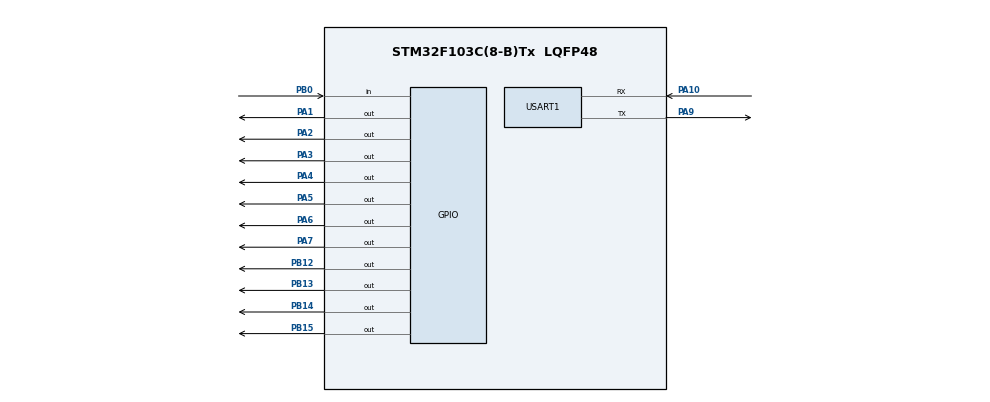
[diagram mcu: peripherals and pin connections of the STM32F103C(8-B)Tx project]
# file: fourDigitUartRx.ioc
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Dma.Request0=USART1_RX
Dma.USART1_RX.0.Direction=DMA_PERIPH_TO_MEMORY
Dma.USART1_RX.0.Instance=DMA1_Channel5
Dma.USART1_RX.0.MemDataAlignment=DMA_MDATAALIGN_BYTE
Dma.USART1_RX.0.MemInc=DMA_MINC_ENABLE
Dma.USART1_RX.0.Mode=DMA_NORMAL
Dma.USART1_RX.0.PeriphDataAlignment=DMA_PDATAALIGN_BYTE
Dma.USART1_RX.0.PeriphInc=DMA_PINC_DISABLE
Dma.USART1_RX.0.Priority=DMA_PRIORITY_LOW
Mcu.Family=STM32F1
Mcu.Name=STM32F103C(8-B)Tx
Mcu.Package=LQFP48
NVIC.DMA1_Channel5_IRQn=true\:0\:0\:false\:false\:true\:false\:true\:true
NVIC.PriorityGroup=NVIC_PRIORITYGROUP_4
NVIC.USART1_IRQn=true\:0\:0\:false\:false\:true\:true\:true\:true
PA1.Signal=GPIO_Output
PA10.Mode=Asynchronous
PA10.Signal=USART1_RX
PA2.Signal=GPIO_Output
PA3.Signal=GPIO_Output
PA4.Signal=GPIO_Output
PA5.Signal=GPIO_Output
PA6.Signal=GPIO_Output
PA7.Signal=GPIO_Output
PA9.Mode=Asynchronous
PA9.Signal=USART1_TX
PB0.Signal=GPIO_Input
PB12.Signal=GPIO_Output
PB13.Signal=GPIO_Output
PB14.Signal=GPIO_Output
PB15.Signal=GPIO_Output
ProjectManager.HeapSize=0x200
ProjectManager.StackSize=0x400
ProjectManager.TargetToolchain=STM32CubeIDE
RCC.APB1Freq_Value=8000000
RCC.APB2Freq_Value=8000000
USART1.VirtualMode=VM_ASYNC
board=custom

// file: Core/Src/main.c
/* USER CODE BEGIN Header */
/**
 ******************************************************************************
 * @file           : main.c
 * @brief          : Main program body
 ******************************************************************************
 * @attention
 *
 * Copyright (c) 2024 STMicroelectronics.
 * All rights reserved.
 *
 * This software is licensed under terms that can be found in the LICENSE file
 * in the root directory of this software component.
 * If no LICENSE file comes with this software, it is provided AS-IS.
 *
 ******************************************************************************
 */
/* USER CODE END Header */
#include "main.h"

/* USER CODE BEGIN Includes */
#include "string.h"
#include "stdlib.h"
#include "stdio.h"
/* USER CODE END Includes */

UART_HandleTypeDef huart1;
DMA_HandleTypeDef hdma_usart1_rx;

/* USER CODE BEGIN PV */
// every time that button pushed this variable increases
/* USER CODE END PV */

void
SystemClock_Config (void);
static void
MX_GPIO_Init (void);
static void
MX_DMA_Init (void);
static void
MX_USART1_UART_Init (void);
/* USER CODE BEGIN PFP */
uint8_t rxBuf[4];
uint8_t mainRxBuf[4];
// This variable take the buttonInc value and white a help of while loop divide it into 4 digit
long long int dividToFourDigit = 0;

long long int uartSum = 0;

uint16_t Select = GPIO_PIN_12;

int i = 0;
int j = 0;

void
HAL_UARTEx_RxEventCallback (UART_HandleTypeDef *huart, uint16_t Size)
{

  if (huart->Instance == USART1)
    {
      Select = 0x1000;
      i = 0;
      j = 0;
      memcpy (mainRxBuf, rxBuf, Size);
      HAL_UARTEx_ReceiveToIdle_DMA (&huart1, rxBuf, sizeof(rxBuf));
      __HAL_DMA_DISABLE_IT(&hdma_usart1_rx, DMA_IT_HT);
      uartSum += atoi (&mainRxBuf);

      dividToFourDigit = uartSum;
      if (uartSum > 9999)
	{
	uartSum = 0;
	}
    }
}

/* USER CODE END PFP */

int
main (void)
{

  /* MCU Configuration--------------------------------------------------------*/

  /* Reset of all peripherals, Initializes the Flash interface and the Systick. */
  HAL_Init ();

  /* Configure the system clock */
  SystemClock_Config ();

  /* Initialize all configured peripherals */
  MX_GPIO_Init ();
  MX_DMA_Init ();
  MX_USART1_UART_Init ();

  /* Infinite loop */
  /* USER CODE BEGIN WHILE */

  HAL_UARTEx_ReceiveToIdle_DMA (&huart1, rxBuf, sizeof(rxBuf));
  __HAL_DMA_DISABLE_IT(&hdma_usart1_rx, DMA_IT_HT);
  // when you give any index of an array to digitaWrite you can change many pin with one digitalWrite.
  int segment[] =
    { 0b01111110, 0b00001100, 0b10110110, 0b10011110, 0b11001100, 0b11011010,
	0b11111010, 0b00001110, 0b11111110, 0b11011110 };
  // The value of 4 digits of seven segment
  int digit[4] =
    { 0 };

  while (1)
    {
      memset (rxBuf, 0, sizeof(rxBuf));
      memset (mainRxBuf, 0, sizeof(mainRxBuf));

      if (dividToFourDigit > 9999)
	{
	  dividToFourDigit = 0;
	  memset (digit, 0, sizeof(digit));
	}

      // This while take the full number and divide it to four digit in digit[i] array.
      // At the end
      while (dividToFourDigit > 0)
	{
	  digit[i] = dividToFourDigit % 10;
	  dividToFourDigit = dividToFourDigit / 10;
	  i++;
	}
      HAL_Delay (3);
      MX_GPIO_Init ();
      HAL_GPIO_WritePin (GPIOB, Select, 1);
      HAL_GPIO_WritePin (GPIOA, segment[digit[j]], 1);
      j++;
      if (j > 3)
	j = 0;
      if (Select == 0x8000)
	{
	  Select = 0x1000;
	  continue;
	}
      // Toggle between select pin of four digit seven segment
      Select = Select << 1;

    }
  /* USER CODE END WHILE */

}

void
SystemClock_Config (void)
{
  RCC_OscInitTypeDef RCC_OscInitStruct =
    { 0 };
  RCC_ClkInitTypeDef RCC_ClkInitStruct =
    { 0 };

  /** Initializes the RCC Oscillators according to the specified parameters
   * in the RCC_OscInitTypeDef structure.
   */
  RCC_OscInitStruct.OscillatorType = RCC_OSCILLATORTYPE_HSI;
  RCC_OscInitStruct.HSIState = RCC_HSI_ON;
  RCC_OscInitStruct.HSICalibrationValue = RCC_HSICALIBRATION_DEFAULT;
  RCC_OscInitStruct.PLL.PLLState = RCC_PLL_NONE;
  if (HAL_RCC_OscConfig (&RCC_OscInitStruct) != HAL_OK)
    {
      Error_Handler ();
    }

  /** Initializes the CPU, AHB and APB buses clocks
   */
  RCC_ClkInitStruct.ClockType = RCC_CLOCKTYPE_HCLK | RCC_CLOCKTYPE_SYSCLK
      | RCC_CLOCKTYPE_PCLK1 | RCC_CLOCKTYPE_PCLK2;
  RCC_ClkInitStruct.SYSCLKSource = RCC_SYSCLKSOURCE_HSI;
  RCC_ClkInitStruct.AHBCLKDivider = RCC_SYSCLK_DIV1;
  RCC_ClkInitStruct.APB1CLKDivider = RCC_HCLK_DIV1;
  RCC_ClkInitStruct.APB2CLKDivider = RCC_HCLK_DIV1;

  if (HAL_RCC_ClockConfig (&RCC_ClkInitStruct, FLASH_LATENCY_0) != HAL_OK)
    {
      Error_Handler ();
    }
}

static void
MX_USART1_UART_Init (void)
{

  huart1.Instance = USART1;
  huart1.Init.BaudRate = 115200;
  huart1.Init.WordLength = UART_WORDLENGTH_8B;
  huart1.Init.StopBits = UART_STOPBITS_1;
  huart1.Init.Parity = UART_PARITY_NONE;
  huart1.Init.Mode = UART_MODE_TX_RX;
  huart1.Init.HwFlowCtl = UART_HWCONTROL_NONE;
  huart1.Init.OverSampling = UART_OVERSAMPLING_16;
  if (HAL_UART_Init (&huart1) != HAL_OK)
    {
      Error_Handler ();
    }

}

static void
MX_DMA_Init (void)
{

  /* DMA controller clock enable */
  __HAL_RCC_DMA1_CLK_ENABLE();

  /* DMA interrupt init */
  /* DMA1_Channel5_IRQn interrupt configuration */
  HAL_NVIC_SetPriority (DMA1_Channel5_IRQn, 0, 0);
  HAL_NVIC_EnableIRQ (DMA1_Channel5_IRQn);

}

static void
MX_GPIO_Init (void)
{
  GPIO_InitTypeDef GPIO_InitStruct =
    { 0 };

  /* GPIO Ports Clock Enable */
  __HAL_RCC_GPIOA_CLK_ENABLE();
  __HAL_RCC_GPIOB_CLK_ENABLE();

  /*Configure GPIO pin Output Level */
  HAL_GPIO_WritePin (
      GPIOA,
      GPIO_PIN_1 | GPIO_PIN_2 | GPIO_PIN_3 | GPIO_PIN_4 | GPIO_PIN_5
	  | GPIO_PIN_6 | GPIO_PIN_7,
      GPIO_PIN_RESET);

  /*Configure GPIO pin Output Level */
  HAL_GPIO_WritePin (GPIOB,
  GPIO_PIN_12 | GPIO_PIN_13 | GPIO_PIN_14 | GPIO_PIN_15,
		     GPIO_PIN_RESET);

  /*Configure GPIO pins : PA1 PA2 PA3 PA4
   PA5 PA6 PA7 */
  GPIO_InitStruct.Pin = GPIO_PIN_1 | GPIO_PIN_2 | GPIO_PIN_3 | GPIO_PIN_4
      | GPIO_PIN_5 | GPIO_PIN_6 | GPIO_PIN_7;
  GPIO_InitStruct.Mode = GPIO_MODE_OUTPUT_PP;
  GPIO_InitStruct.Pull = GPIO_NOPULL;
  GPIO_InitStruct.Speed = GPIO_SPEED_FREQ_LOW;
  HAL_GPIO_Init (GPIOA, &GPIO_InitStruct);

  /*Configure GPIO pin : PB0 */
  GPIO_InitStruct.Pin = GPIO_PIN_0;
  GPIO_InitStruct.Mode = GPIO_MODE_INPUT;
  GPIO_InitStruct.Pull = GPIO_NOPULL;
  HAL_GPIO_Init (GPIOB, &GPIO_InitStruct);

  /*Configure GPIO pins : PB12 PB13 PB14 PB15 */
  GPIO_InitStruct.Pin = GPIO_PIN_12 | GPIO_PIN_13 | GPIO_PIN_14 | GPIO_PIN_15;
  GPIO_InitStruct.Mode = GPIO_MODE_OUTPUT_PP;
  GPIO_InitStruct.Pull = GPIO_NOPULL;
  GPIO_InitStruct.Speed = GPIO_SPEED_FREQ_LOW;
  HAL_GPIO_Init (GPIOB, &GPIO_InitStruct);

}

void
Error_Handler (void)
{
  /* USER CODE BEGIN Error_Handler_Debug */
  /* User can add his own implementation to report the HAL error return state */
  __disable_irq ();
  while (1)
    {
    }
  /* USER CODE END Error_Handler_Debug */
}
